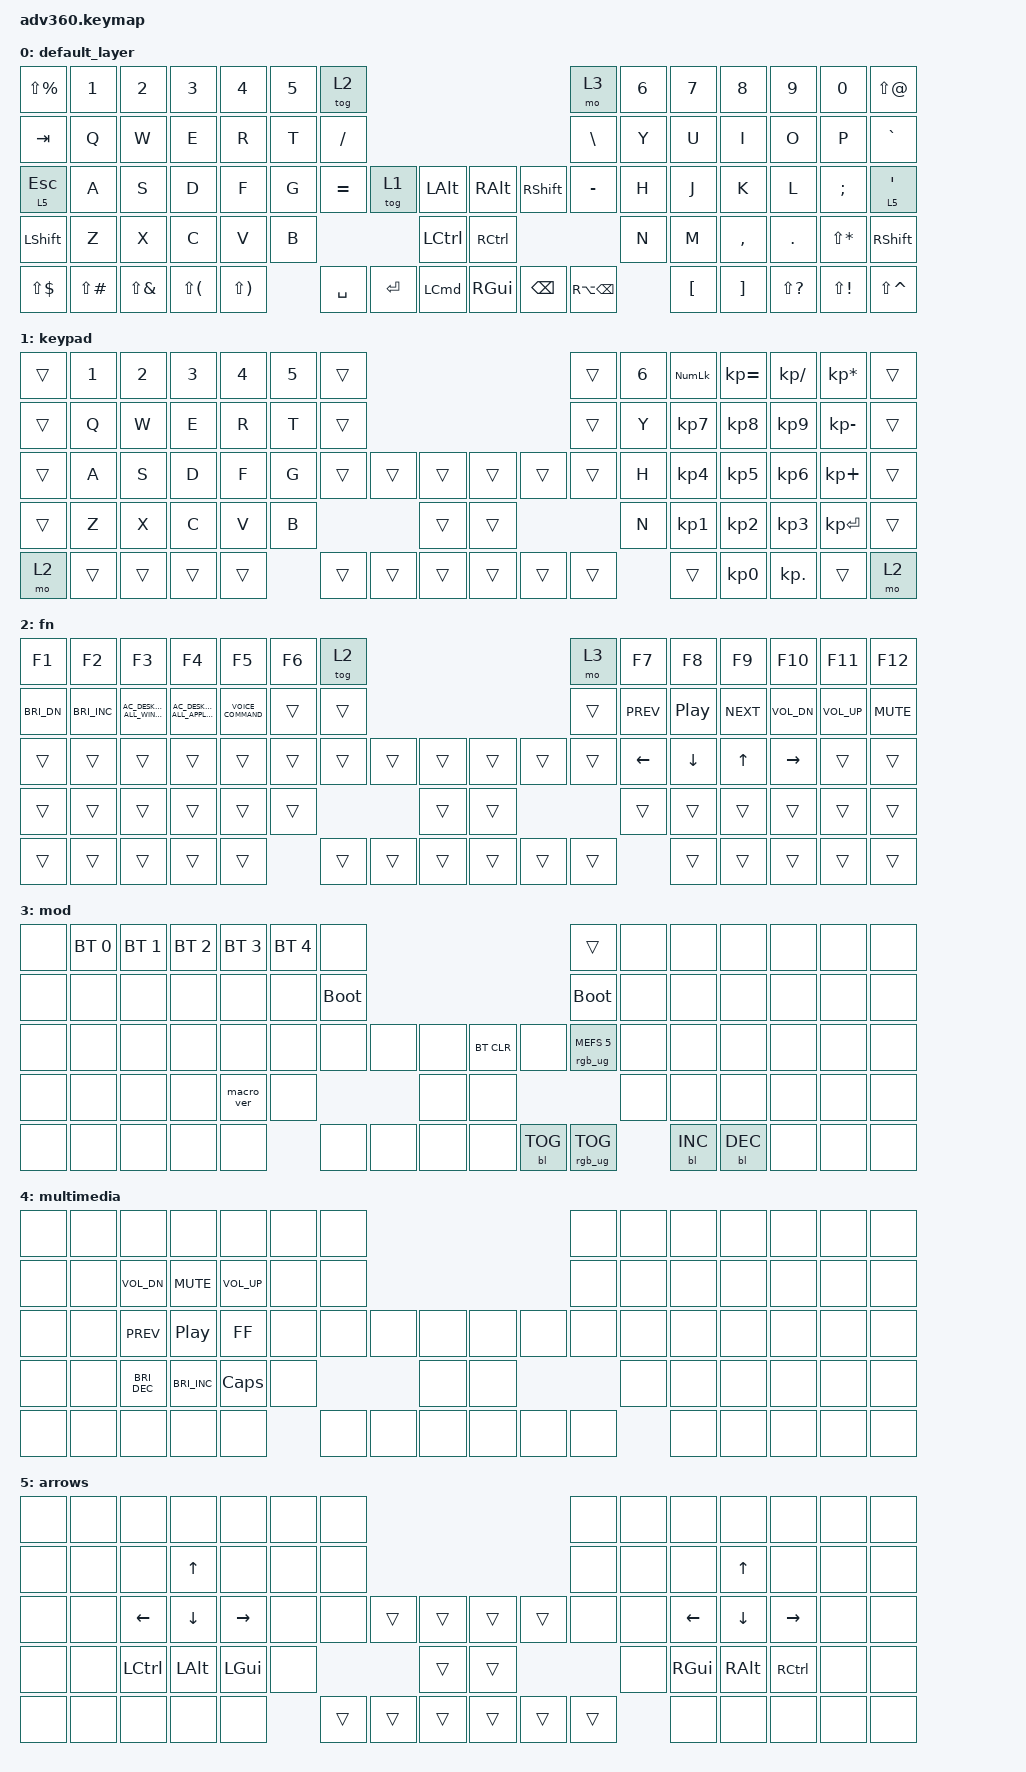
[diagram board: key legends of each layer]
#include <behaviors.dtsi>
#include <dt-bindings/zmk/backlight.h>
#include <dt-bindings/zmk/bt.h>
#include <dt-bindings/zmk/keys.h>
#include <dt-bindings/zmk/rgb.h>

/ {
    behaviors {
        #include "macros.dtsi"
      #include "version.dtsi"
      #ifndef VERSION_MACRO

        macro_ver: macro_ver {
            compatible = "zmk,behavior-macro";
            label = "macro_version";
            #binding-cells = <0>;
            bindings = <&kp ENTER>;
        };

        #endif

        DICT: DICT {
            compatible = "zmk,behavior-macro";
            #binding-cells = <0>;
            bindings = <&kp CAPS &kp CAPS>;
            label = "DICT";
            wait-ms = <100>;
        };

        clt: cust_lt {
            compatible = "zmk,behavior-hold-tap";
            label = "CUSTOM_LAYER_TAP";
            #binding-cells = <2>;
            tapping-term-ms = <250>;
            quick_tap_ms = <150>;
            flavor = "balanced";
            bindings = <&mo>, <&kp>;

            hold-trigger-key-positions = <40 0 1 2 3 4 5 6 7 8 9 10 11 12 13 14 15 16 17 18 19 20 21 22 23 24 25 26 27 28 29 30 31 32 33 34 35 36 37 38 39 40 41 42 43 44 45 46 47 48 49 50 51 52 53 54 55 56 57 58 59 60 61 62 63 64 65 66 67 68 69 70 71 72 73 74 75>;
            quick-tap-ms = <150>;
            hold-trigger-on-release;
            require-prior-idle-ms = <100>;
        };

        cmt: cmt {
            compatible = "zmk,behavior-hold-tap";
            label = "CUSTOM_MOD_TAP";
            #binding-cells = <2>;
            tapping-term-ms = <280>;
            quick_tap_ms = <0>;
            flavor = "balanced";
            bindings = <&kp>, <&kp>;

            hold-trigger-key-positions = <33 0 1 2 3 4 5 6 7 8 9 10 11 12 13 14 15 16 17 18 19 20 21 22 23 24 25 26 27 28 29 30 31 32 33 34 35 36 37 38 39 40 41 42 43 44 45 46 47 48 49 50 51 52 53 54 55 56 57 58 59 60 61 62 63 64 65 66 67 68 69 70 71 72 73 74 75>;
            hold-trigger-on-release;
            quick-tap-ms = <150>;
            require-prior-idle-ms = <80>;
        };

        clt_l: clt_l {
            compatible = "zmk,behavior-hold-tap";
            label = "CLT_L";
            #binding-cells = <2>;
            tapping-term-ms = <280>;
            flavor = "balanced";
            bindings = <&mo>, <&kp>;

            hold-trigger-on-release;
            hold-trigger-key-positions = <7 8 9 10 11 12 13 21 22 23 24 25 26 27 37 38 39 40 41 42 43 44 45 53 54 55 56 57 58 59 68 69 70 71 72 73 74 75>;
            quick-tap-ms = <150>;
        };

        clt_r: clt_r {
            compatible = "zmk,behavior-hold-tap";
            label = "CLT_R";
            #binding-cells = <2>;
            tapping-term-ms = <280>;
            flavor = "balanced";
            bindings = <&mo>, <&kp>;

            hold-trigger-on-release;
            hold-trigger-key-positions = <0 1 2 3 4 5 6 14 15 16 17 18 19 20 28 29 30 31 32 33 34 35 36 46 47 48 49 50 51 52 60 61 62 63 64 65 66 67>;
            quick-tap-ms = <150>;
            require-prior-idle-ms = <100>;
        };

        cmt_l: cmt_l {
            compatible = "zmk,behavior-hold-tap";
            label = "CMT_L";
            #binding-cells = <2>;
            tapping-term-ms = <280>;
            quick_tap_ms = <0>;
            flavor = "balanced";
            bindings = <&kp>, <&kp>;

            hold-trigger-on-release;
            hold-trigger-key-positions = <7 8 9 10 11 12 13 21 22 23 24 25 26 27 37 38 39 40 41 42 43 44 45 53 54 55 56 57 58 59 68 69 70 71 72 73 74 75>;
            require-prior-idle-ms = <100>;
            quick-tap-ms = <150>;
        };

        cmt_r: cmt_r {
            compatible = "zmk,behavior-hold-tap";
            label = "CMT_R";
            #binding-cells = <2>;
            tapping-term-ms = <280>;
            quick_tap_ms = <0>;
            flavor = "balanced";
            bindings = <&kp>, <&kp>;

            hold-trigger-on-release;
            hold-trigger-key-positions = <0 1 2 3 4 5 6 14 15 16 17 18 19 20 28 29 30 31 32 33 34 35 36 46 47 48 49 50 51 52 60 61 62 63 64 65 66 67>;
            quick-tap-ms = <150>;
            require-prior-idle-ms = <100>;
        };
    };

    macros {
    };

    combos {
        compatible = "zmk,combos";

        dictate {
            bindings = <&kp CAPS>;
            key-positions = <67 68>;
        };

        emoji {
            bindings = <&kp LG(LC(SPACE))>;
            key-positions = <67 37>;
        };

        playpause {
            bindings = <&kp C_PLAY_PAUSE>;
            key-positions = <67 53>;
        };
    };

    keymap {
        compatible = "zmk,keymap";

        default_layer {
            bindings = <
&kp LS(PRCNT)  &kp N1         &kp N2        &kp N3        &kp N4        &kp N5  &tog 2                                                                &mo 3              &kp N6  &kp N7    &kp N8     &kp N9         &kp N0        &kp LS(AT)
&kp TAB        &kp Q          &kp W         &kp E         &kp R         &kp T   &kp FSLH                                                              &kp BSLH           &kp Y   &kp U     &kp I      &kp O          &kp P         &kp GRAVE
&clt 5 ESCAPE  &kp A          &kp S         &kp D         &kp F         &kp G   &kp EQUAL  &tog 1     &kp LALT              &kp RALT   &kp RSHFT      &kp MINUS          &kp H   &kp J     &kp K      &kp L          &kp SEMI      &clt 5 APOSTROPHE
&kp LSHFT      &kp Z          &kp X         &kp C         &kp V         &kp B                         &kp LCTRL             &kp RCTRL                                    &kp N   &kp M     &kp COMMA  &kp DOT        &kp LS(STAR)  &kp RSHFT
&kp LS(DLLR)   &kp LS(POUND)  &kp LS(AMPS)  &kp LS(LPAR)  &kp LS(RPAR)          &kp SPACE  &kp ENTER  &kp LEFT_COMMAND      &kp RGUI   &kp BACKSPACE  &kp RA(BACKSPACE)          &kp LBKT  &kp RBKT   &kp LS(QMARK)  &kp LS(EXCL)  &kp LS(CARET)
            >;
        };

        keypad {
            bindings = <
&trans  &kp N1  &kp N2  &kp N3  &kp N4  &kp N5  &trans                                      &trans  &kp N6  &kp KP_NUM  &kp KP_EQUAL  &kp KP_DIVIDE  &kp KP_MULTIPLY  &trans
&trans  &kp Q   &kp W   &kp E   &kp R   &kp T   &trans                                      &trans  &kp Y   &kp KP_N7   &kp KP_N8     &kp KP_N9      &kp KP_MINUS     &trans
&trans  &kp A   &kp S   &kp D   &kp F   &kp G   &trans  &trans  &trans      &trans  &trans  &trans  &kp H   &kp KP_N4   &kp KP_N5     &kp KP_N6      &kp KP_PLUS      &trans
&trans  &kp Z   &kp X   &kp C   &kp V   &kp B                   &trans      &trans                  &kp N   &kp KP_N1   &kp KP_N2     &kp KP_N3      &kp KP_ENTER     &trans
&mo 2   &trans  &trans  &trans  &trans          &trans  &trans  &trans      &trans  &trans  &trans          &trans      &kp KP_N0     &kp KP_DOT     &trans           &mo 2
            >;
        };

        fn {
            bindings = <
&kp F1        &kp F2                &kp F3                             &kp F4                                  &kp F5               &kp F6  &tog 2                                      &mo 3   &kp F7      &kp F8            &kp F9      &kp F10       &kp F11       &kp F12
&kp C_BRI_DN  &kp C_BRIGHTNESS_INC  &kp C_AC_DESKTOP_SHOW_ALL_WINDOWS  &kp C_AC_DESKTOP_SHOW_ALL_APPLICATIONS  &kp C_VOICE_COMMAND  &trans  &trans                                      &trans  &kp C_PREV  &kp C_PLAY_PAUSE  &kp C_NEXT  &kp C_VOL_DN  &kp C_VOL_UP  &kp C_MUTE
&trans        &trans                &trans                             &trans                                  &trans               &trans  &trans  &trans  &trans      &trans  &trans  &trans  &kp LEFT    &kp DOWN          &kp UP      &kp RIGHT     &trans        &trans
&trans        &trans                &trans                             &trans                                  &trans               &trans                  &trans      &trans                  &trans      &trans            &trans      &trans        &trans        &trans
&trans        &trans                &trans                             &trans                                  &trans                       &trans  &trans  &trans      &trans  &trans  &trans              &trans            &trans      &trans        &trans        &trans
            >;
        };

        mod {
            bindings = <
&none  &bt BT_SEL 0  &bt BT_SEL 1  &bt BT_SEL 2  &bt BT_SEL 3  &bt BT_SEL 4  &none                                                  &trans                  &none  &none       &none       &none  &none  &none
&none  &none         &none         &none         &none         &none         &bootloader                                            &bootloader             &none  &none       &none       &none  &none  &none
&none  &none         &none         &none         &none         &none         &none        &none  &none      &bt BT_CLR  &none       &rgb_ug RGB_MEFS_CMD 5  &none  &none       &none       &none  &none  &none
&none  &none         &none         &none         &macro_ver    &none                             &none      &none                                           &none  &none       &none       &none  &none  &none
&none  &none         &none         &none         &none                       &none        &none  &none      &none       &bl BL_TOG  &rgb_ug RGB_TOG                &bl BL_INC  &bl BL_DEC  &none  &none  &none
            >;
        };

        multimedia {
            bindings = <
&none  &none  &none          &none             &none            &none  &none                                  &none  &none  &none  &none  &none  &none  &none
&none  &none  &kp C_VOL_DN   &kp C_MUTE        &kp C_VOLUME_UP  &none  &none                                  &none  &none  &none  &none  &none  &none  &none
&none  &none  &kp C_PREV     &kp C_PLAY_PAUSE  &kp C_FF         &none  &none  &none  &none      &none  &none  &none  &none  &none  &none  &none  &none  &none
&none  &none  &kp C_BRI_DEC  &kp C_BRI_INC     &kp CAPSLOCK     &none                &none      &none                &none  &none  &none  &none  &none  &none
&none  &none  &none          &none             &none                   &none  &none  &none      &none  &none  &none         &none  &none  &none  &none  &none
            >;
        };

        arrows {
            bindings = <
&none  &none  &none      &none     &none      &none  &none                                       &none   &none  &none     &none     &none      &none  &none
&none  &none  &none      &kp UP    &none      &none  &none                                       &none   &none  &none     &kp UP    &none      &none  &none
&none  &none  &kp LEFT   &kp DOWN  &kp RIGHT  &none  &none   &trans  &trans      &trans  &trans  &none   &none  &kp LEFT  &kp DOWN  &kp RIGHT  &none  &none
&none  &none  &kp LCTRL  &kp LALT  &kp LGUI   &none                  &trans      &trans                  &none  &kp RGUI  &kp RALT  &kp RCTRL  &none  &none
&none  &none  &none      &none     &none             &trans  &trans  &trans      &trans  &trans  &trans         &none     &none     &none      &none  &none
            >;
        };
    };
};
